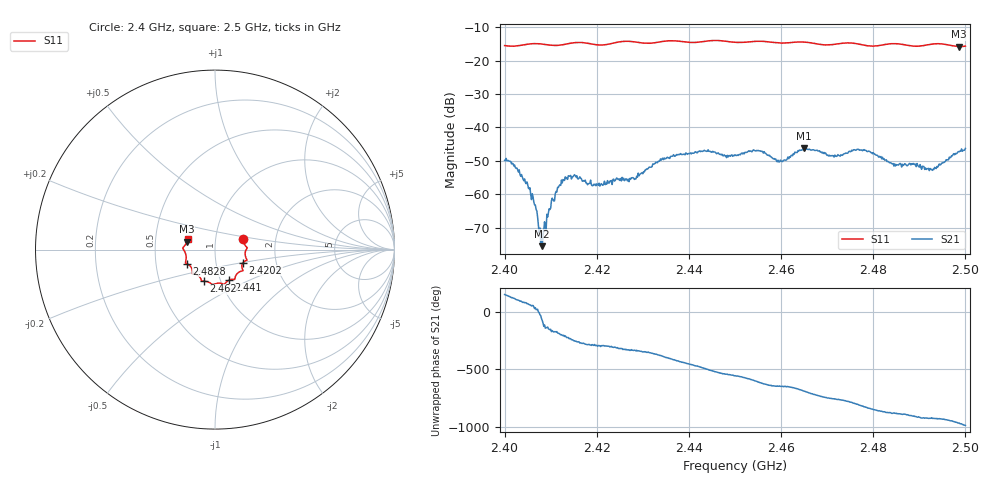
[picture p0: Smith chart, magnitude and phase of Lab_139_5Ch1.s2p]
# Hz S RI R 50
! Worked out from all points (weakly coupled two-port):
!   601 points, 2.4 GHz to 2.5 GHz, reference 50 ohm
!   highest |S21| = -46.27 dB at 2.465 GHz (marker M1); lowest = -75.5 dB at 2.4082 GHz (marker M2)
!   lowest |S11| = -15.8 dB at 2.4987 GHz (marker M3), VSWR 1.39, Z = 36.3 + j3.24 ohm
!   |S11| at or under -10 dB: start of sweep to end of sweep
!   S12 and S22 are empty: the file has one direction only
!   S11 on the Smith chart (normalised r, x): 2.4 GHz: 1.36, +0.17; 2.4202 GHz: 1.36, -0.20; 2.441 GHz: 1.10, -0.39; 2.462 GHz: 0.83, -0.30; 2.4828 GHz: 0.72, -0.12; 2.5 GHz: 0.73, +0.09
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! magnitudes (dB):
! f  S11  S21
! 2.4 GHz  -15.5  -49.8
! 2.405 GHz  -15.1  -57.0
! 2.4065 GHz  -14.9  -63.1
! 2.4078 GHz  -15.0  -74.7
! 2.4082 GHz  -15.0  -75.5
! 2.4122 GHz  -15.3  -57.4
! 2.4167 GHz  -14.5  -55.4
! 2.4202 GHz  -15.3  -57.1
! 2.4283 GHz  -14.4  -55.4
! 2.4333 GHz  -14.5  -50.1
! 2.441 GHz  -14.6  -47.7
! 2.45 GHz  -14.5  -48.2
! 2.462 GHz  -14.6  -48.9
! 2.465 GHz  -14.4  -46.3
! 2.4667 GHz  -14.7  -46.7
! 2.4717 GHz  -15.1  -48.2
! 2.478 GHz  -15.3  -46.6
! 2.4828 GHz  -15.1  -49.7
! 2.4833 GHz  -15.0  -50.2
! 2.4927 GHz  -15.0  -52.5
! 2.4987 GHz  -15.8  -47.3
! 2.5 GHz  -15.6  -46.3
